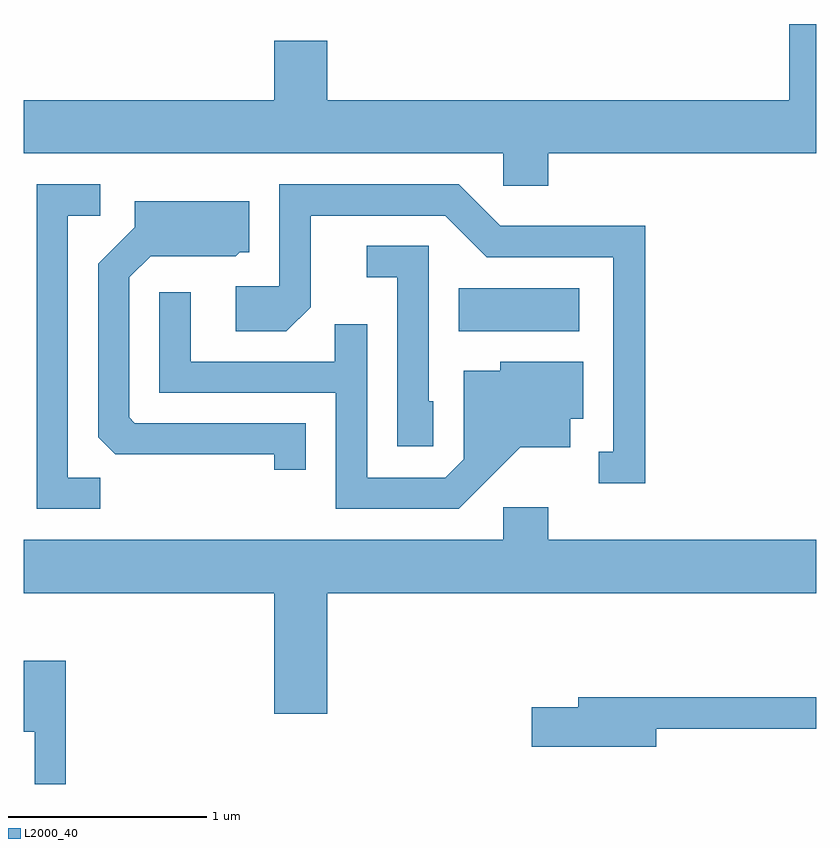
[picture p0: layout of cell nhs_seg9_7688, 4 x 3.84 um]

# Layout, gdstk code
import gdstk
lib = gdstk.Library(unit=1e-6, precision=1e-09)
def R(c, l, rs):  # rectangles x0, y0, x1, y1
    for r in rs: c.add(gdstk.rectangle(r[:2], r[2:], *l))
def P(c, l, *ps):  # polygons
    for p in ps: c.add(gdstk.Polygon(p, *l))
L2000_40 = (2000, 40)

nhs_seg9_7688 = lib.new_cell('nhs_seg9_7688')
R(nhs_seg9_7688, L2000_40, [(415.806,1968.716,416.414,1968.934)])
P(nhs_seg9_7688, L2000_40, [(416.259,1969.616),(417.611,1969.616),(417.611,1970.268),(417.476,1970.268),(417.476,1969.884),(415.144,1969.884),(415.144,1970.184),(414.876,1970.184),(414.876,1969.884),(413.611,1969.884),(413.611,1969.616),(416.031,1969.616),(416.031,1969.451),(416.259,1969.451)],
  [(413.998,1967.979),(413.834,1967.979),(413.834,1969.301),(413.998,1969.301),(413.998,1969.459),(413.676,1969.459),(413.676,1967.821),(413.998,1967.821)],
  [(416.749,1969.249),(416.017,1969.249),(415.807,1969.459),(414.901,1969.459),(414.901,1968.944),(414.681,1968.944),(414.681,1968.716),(414.937,1968.716),(415.059,1968.839),(415.059,1969.301),(415.739,1969.301),(415.949,1969.091),(416.586,1969.091),(416.586,1968.109),(416.513,1968.109),(416.513,1967.951),(416.749,1967.951)],
  [(415.034,1968.254),(414.172,1968.254),(414.144,1968.282),(414.144,1968.989),(414.252,1969.096),(414.682,1969.096),(414.702,1969.116),(414.749,1969.116),(414.749,1969.374),(414.171,1969.374),(414.171,1969.242),(413.986,1969.057),(413.986,1968.182),(414.072,1968.096),(414.876,1968.096),(414.876,1968.018),(415.034,1968.018)],
  [(415.679,1968.364),(415.654,1968.364),(415.654,1969.149),(415.343,1969.149),(415.343,1968.991),(415.496,1968.991),(415.496,1968.136),(415.679,1968.136)],
  [(416.117,1968.131),(416.369,1968.131),(416.369,1968.276),(416.434,1968.276),(416.434,1968.564),(416.016,1968.564),(416.016,1968.519),(415.831,1968.519),(415.831,1968.072),(415.739,1967.979),(415.344,1967.979),(415.344,1968.753),(415.181,1968.753),(415.181,1968.564),(414.454,1968.564),(414.454,1968.913),(414.296,1968.913),(414.296,1968.406),(415.186,1968.406),(415.186,1967.821),(415.807,1967.821)],
  [(415.144,1967.396),(417.611,1967.396),(417.611,1967.664),(416.259,1967.664),(416.259,1967.829),(416.031,1967.829),(416.031,1967.664),(413.611,1967.664),(413.611,1967.396),(414.876,1967.396),(414.876,1966.786),(415.144,1966.786)],
  [(413.824,1967.054),(413.611,1967.054),(413.611,1966.696),(413.666,1966.696),(413.666,1966.432),(413.824,1966.432)],
  [(416.804,1966.711),(417.611,1966.711),(417.611,1966.869),(416.411,1966.869),(416.411,1966.819),(416.176,1966.819),(416.176,1966.621),(416.804,1966.621)])

lib.write_gds('nhs_seg9_7688.gds')
